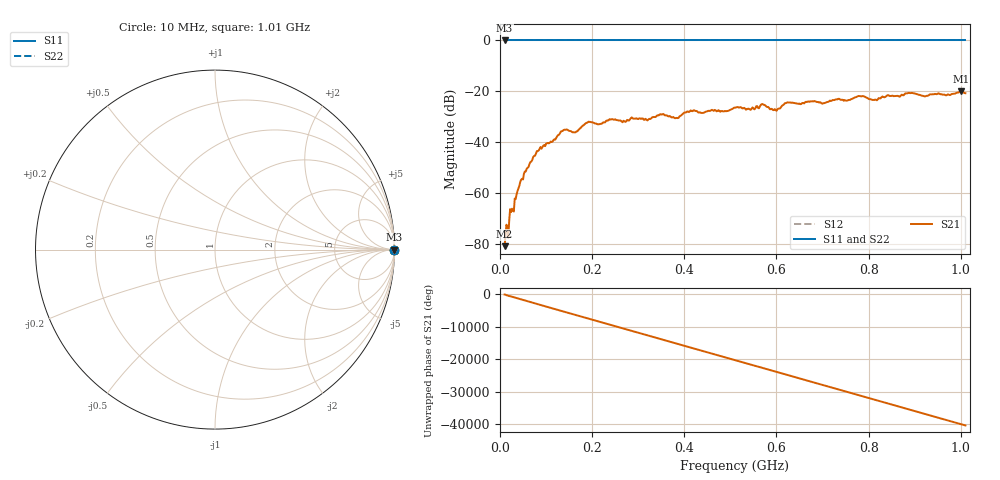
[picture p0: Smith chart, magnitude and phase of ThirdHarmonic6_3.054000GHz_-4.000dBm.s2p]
! 8/17/2025 8:52:45 AM
! C:\ANRITSUVNA\TEMP\TEMP.S2P
! CHANNEL.1
! TR.MEASUREMENT
! RAW.DATA
! RF.CORRECTION.OFF
! AVERAGING.OFF
! IF.BANDWIDTH: 5KHZ
! SWEEPTYPE:  FREQ.SWEEP(Linear)
! Reference Plane Port Info
! PORT:  PORT1  PORT2
! DISTANCE:  0  m  0  m
! TIME:  0  s  0  s
! PHASE.OFFSET:  0  deg.  0  deg.
! LOSS:  0  dB  0  dB
! REF.LOSS:  0  dB  0  dB
! REF.FREQ:  0  Hz  0  Hz
! Power Info
! POWER:  -20  dBm  -20  dBm
! EFF.POWER:  -20  dBm  -20  dBm
! SOURCE.ATTEN:  0  dB  0  dB
! TEST.ATTEN:  0  dB  0  dB
# GHZ S RI R 50.0
! FREQ.GHZ  S11RE  S11IM  S21RE  S21IM  S12RE  S12IM  S22RE  S22IM
!; PortSelection: Port_12
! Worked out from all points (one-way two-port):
!   501 points, 10 MHz to 1.01 GHz, reference 50 ohm
!   highest |S21| = -20.03 dB at 1 GHz (marker M1); lowest = -80.9 dB at 10 MHz (marker M2)
!   lowest |S11| = 0.0 dB at 10 MHz (marker M3)
!   |S11| at or under -10 dB: nowhere
!   |S22| runs from 0.0 to 0.0 dB; largest |S21 - S12| = 1.1
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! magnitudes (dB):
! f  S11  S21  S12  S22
! 10 MHz  0.0  -80.9  0.0  0.0
! 42 MHz  0.0  -57.1  0.0  0.0
! 76 MHz  0.0  -45.3  0.0  0.0
! 136 MHz  0.0  -35.6  0.0  0.0
! 162 MHz  0.0  -36.2  0.0  0.0
! 178 MHz  0.0  -33.8  0.0  0.0
! 192 MHz  0.0  -32.0  0.0  0.0
! 322 MHz  0.0  -31.1  0.0  0.0
! 344 MHz  0.0  -29.5  0.0  0.0
! 384 MHz  0.0  -30.4  0.0  0.0
! 418 MHz  0.0  -27.8  0.0  0.0
! 510 MHz  0.0  -26.4  0.0  0.0
! 570 MHz  0.0  -25.0  0.0  0.0
! 596 MHz  0.0  -27.0  0.0  0.0
! 622 MHz  0.0  -24.5  0.0  0.0
! 678 MHz  0.0  -23.9  0.0  0.0
! 702 MHz  0.0  -24.6  0.0  0.0
! 782 MHz  0.0  -21.9  0.0  0.0
! 814 MHz  0.0  -23.2  0.0  0.0
! 844 MHz  0.0  -21.6  0.0  0.0
! 1 GHz  0.0  -20.0  0.0  0.0
! 1.01 GHz  0.0  -20.7  0.0  0.0
